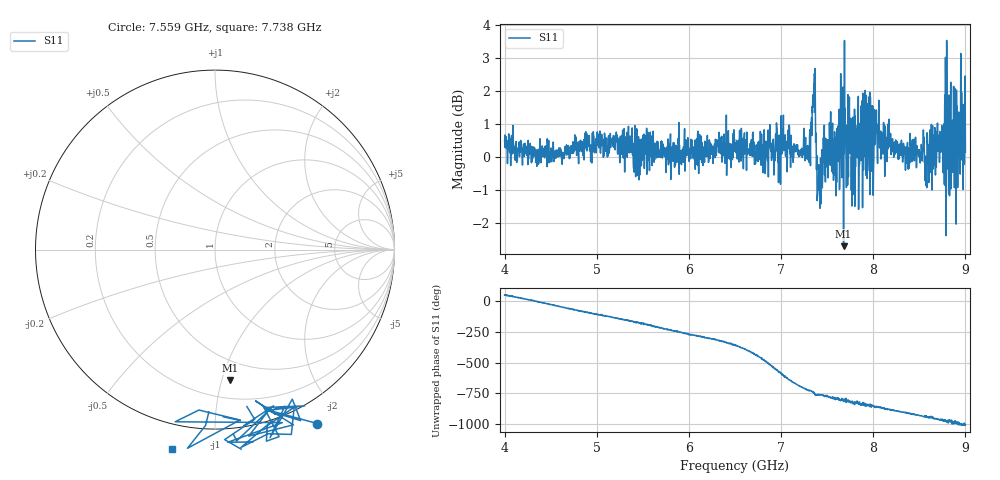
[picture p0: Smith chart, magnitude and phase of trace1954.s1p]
! Created with skrf 1.8.0 (http://scikit-rf.org).
# Hz S RI R 50.0
!freq ReS11 ImS11
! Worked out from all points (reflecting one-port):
!   1601 points, 4 GHz to 9 GHz, reference 50 ohm
!   lowest |S11| = -2.7 dB at 7.678 GHz (marker M1), VSWR 6.46, Z = 16.9 - j53 ohm
!   phase of S11 starts at 48 deg and turns -1049 deg over the sweep
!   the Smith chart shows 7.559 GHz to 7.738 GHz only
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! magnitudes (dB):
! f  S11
! 4 GHz  0.5
! 4.625 GHz  -0.2
! 5.25 GHz  -0.2
! 5.875 GHz  0.1
! 6.5 GHz  0.2
! 6.806 GHz  0.1
! 7.025 GHz  1.3
! 7.125 GHz  0.0
! 7.294 GHz  0.0
! 7.347 GHz  1.5
! 7.362 GHz  2.5
! 7.412 GHz  -0.7
! 7.481 GHz  -0.8
! 7.588 GHz  -0.5
! 7.678 GHz  -2.7
! 7.75 GHz  0.9
! 7.784 GHz  -0.5
! 7.844 GHz  -0.3
! 7.928 GHz  0.5
! 7.981 GHz  -0.4
! 8.038 GHz  0.7
! 8.375 GHz  0.0
! 8.528 GHz  0.0
! 8.584 GHz  0.7
! 8.8 GHz  1.3
! 8.875 GHz  0.3
! 8.972 GHz  0.5
! 9 GHz  0.1
